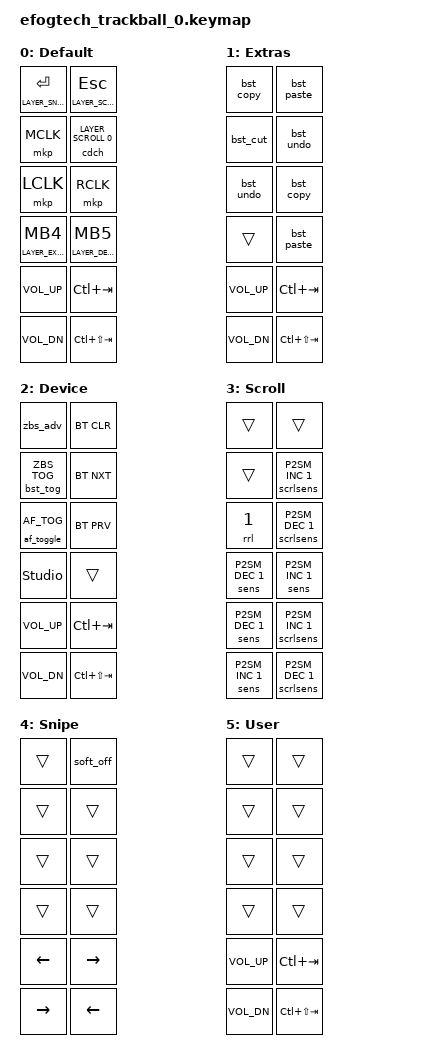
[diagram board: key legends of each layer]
#include <behaviors.dtsi>
#include <dt-bindings/zmk/bt.h>
#include <dt-bindings/zmk/keys.h>
#include <dt-bindings/zmk/pointing.h>
#include <dt-bindings/zmk/outputs.h>
#include <dt-bindings/zmk/adaptive_feedback.h>
#include <dt-bindings/zmk/bistable_behavior.h>
#include <dt-bindings/zmk/p2sm.h>

#ifndef LAYER_DEFAULT
#define LAYER_DEFAULT      0
#define LAYER_EXTRAS       1
#define LAYER_DEVICE       2
#define LAYER_SCROLL       3
#define LAYER_SNIPE        4
#define LAYER_USER         5
#endif

#define TWIST_MULTIPLIER   1
#define TWIST_DIVISOR      10

#define SCROLL_MULTIPLIER  1
#define SCROLL_DIVISOR     3

#define SNIPE_MULTIPLIER   1
#define SNIPE_DIVISOR      4

/ {
	keymap {
		compatible = "zmk,keymap";

		default_layer {
			display-name = "Default";
			DECLARE_ENCODERS;
			bindings = <
			    // buttons
			    &ltmkp LAYER_SNIPE ENTER  &ltmkp LAYER_SCROLL ESC
			    &mkp MCLK                 &cdch LAYER_SCROLL 0
			    &mkp LCLK                 &mkp RCLK
			    &ltm LAYER_EXTRAS MB4     &ltm LAYER_DEVICE MB5

			    // rotary encoders
			    &kp C_VOL_UP              &kp LC(TAB)
			    &kp C_VOL_DN              &kp LC(LS(TAB))
		    >;
		};

		layer1 {
			display-name = "Extras";
			DECLARE_ENCODERS;
			bindings = <
			    &bst_copy      &bst_paste
			    &bst_cut       &bst_undo
			    &bst_undo      &bst_copy
			    &trans         &bst_paste

			    &kp C_VOL_UP   &kp LC(TAB)
			    &kp C_VOL_DN   &kp LC(LS(TAB))
	   		>;
		};

		layer2 {
			display-name = "Device";
			DECLARE_ENCODERS;
			bindings = <
			    &zbs_adv           &bt BT_CLR
			    &bst_tog ZBS_TOG   &bt BT_NXT
			    &af_toggle AF_TOG  &bt BT_PRV
			    &studio_unlock     &trans

			    &kp C_VOL_UP       &kp LC(TAB)
			    &kp C_VOL_DN       &kp LC(LS(TAB))
		   	>;
		};

		layer3 {
			display-name = "Scroll";
			DECLARE_ENCODERS;
			bindings = <
			    &trans              &trans
			    &trans              &scrlsens P2SM_INC 1
			    &rrl 1              &scrlsens P2SM_DEC 1
			    &sens P2SM_DEC 1    &sens P2SM_INC 1

			    &sens P2SM_DEC 1    &scrlsens P2SM_INC 1
			    &sens P2SM_INC 1    &scrlsens P2SM_DEC 1
		  	>;
		};

		layer4 {
			display-name = "Snipe";
			DECLARE_ENCODERS;
			bindings = <
			    &trans           &soft_off
			    &trans           &trans
			    &trans           &trans
			    &trans           &trans

			    &kp LEFT         &kp RIGHT
			    &kp RIGHT        &kp LEFT
	   		>;
		};

		layer5 {
			display-name = "User";
			DECLARE_ENCODERS;
			bindings = <
				&trans        &trans
				&trans        &trans
				&trans        &trans
				&trans        &trans

				&kp C_VOL_UP  &kp LC(TAB)
				&kp C_VOL_DN  &kp LC(LS(TAB))
		    >;
		};
	};

	trackball {
		input-processors = <&zip_scroll_scaler TWIST_MULTIPLIER TWIST_DIVISOR>,
						   <&zip_pointer_accel>, <&zip_scroll_accel>,
						   <&zip_rotate_pointer>, <&zip_rotate_scroll>,
						   <&esb_ip>, <&zip_ble_report_rate_limit>;

		scroll {
			layers = <LAYER_SCROLL>;
			input-processors = <&zip_xy_scaler SCROLL_MULTIPLIER SCROLL_DIVISOR>, <&zip_axis_clamper>,
							   <&zip_xy_to_scroll_mapper>, <&zip_scroll_transform INPUT_TRANSFORM_Y_INVERT>,
							   <&zip_rotate_scroll>, <&esb_ip>, <&zip_ble_report_rate_limit>;
		};

		snipe {
			layers = <LAYER_SNIPE>;
			input-processors = <&zip_xy_scaler SNIPE_MULTIPLIER SNIPE_DIVISOR>,
							   <&zip_rotate_pointer>, <&zip_rotate_scroll>,
							   <&esb_ip>, <&zip_ble_report_rate_limit>;
		};
	};
};
